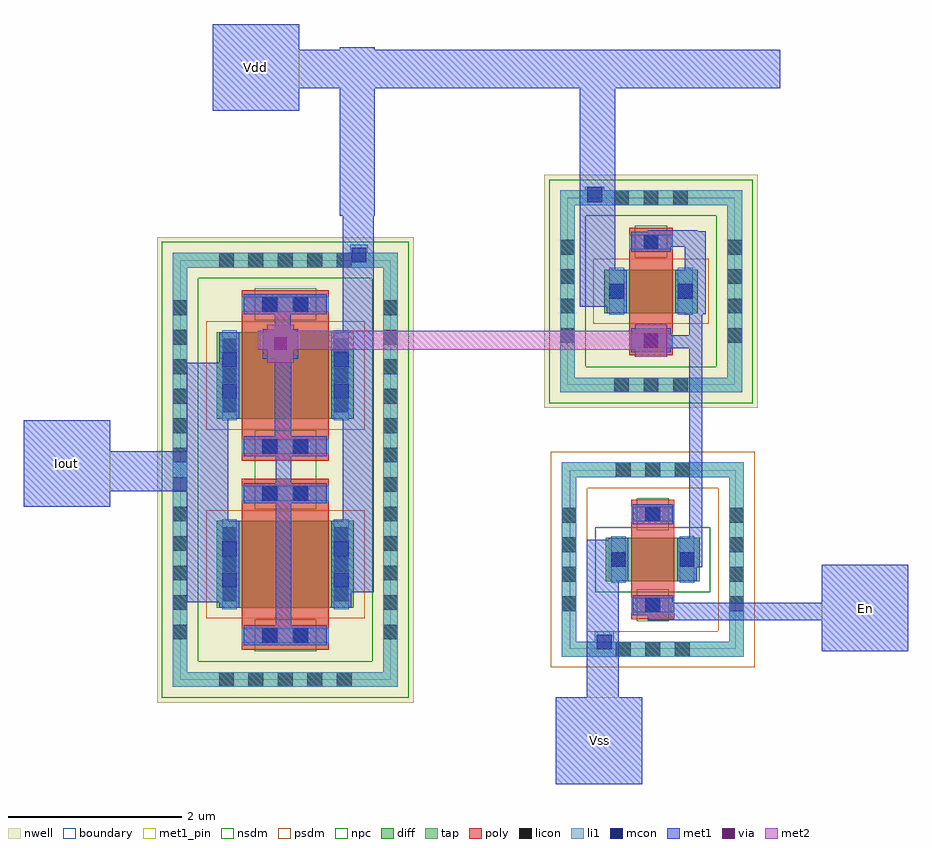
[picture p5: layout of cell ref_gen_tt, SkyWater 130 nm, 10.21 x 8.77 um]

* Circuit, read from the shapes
.subckt ref_gen_tt En Iout Vdd Vss
XM1 n1 En Vss Vss sky130_fd_pr__nfet_01v8 w=0.5 l=0.5
XM2 Vdd n1 Iout Vdd sky130_fd_pr__pfet_01v8 w=1 l=1 m=2
XM3 n1 n1 Vdd Vdd sky130_fd_pr__pfet_01v8 w=0.5 l=0.5
.ends

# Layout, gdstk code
import gdstk
lib = gdstk.Library(unit=1e-6, precision=1e-09)
def R(c, l, rs):  # rectangles x0, y0, x1, y1
    for r in rs: c.add(gdstk.rectangle(r[:2], r[2:], *l))
def A(c, l, x, y, w, h, nx, ny, dx, dy):  # array of equal rectangles
    R(c, l, [(x+i*dx, y+j*dy, x+i*dx+w, y+j*dy+h) for i in range(nx) for j in range(ny)])
nwell = (64, 20)
diff = (65, 20)
tap = (65, 44)
poly = (66, 20)
licon = (66, 44)
li1 = (67, 20)
mcon = (67, 44)
met1_pin = (68, 16)
met1 = (68, 20)
via = (68, 44)
met2 = (69, 20)
nsdm = (93, 44)
psdm = (94, 20)
npc = (95, 20)
boundary = (235, 4)

sky130_fd_pr__pfet_01v8_ = lib.new_cell('sky130_fd_pr__pfet_01v8_TM5SY6')
R(sky130_fd_pr__pfet_01v8_, nwell, [(-1.23,-1.345,1.23,1.345)])
R(sky130_fd_pr__pfet_01v8_, diff, [(-0.54,-0.25,0.54,0.25)])
R(sky130_fd_pr__pfet_01v8_, tap, [(-1.05,-1.165,1.05,-0.995), (-1.05,-0.995,-0.88,0.995), (0.88,-0.995,1.05,0.995), (-1.05,0.995,1.05,1.165)])
R(sky130_fd_pr__pfet_01v8_, poly, [(-0.25,-0.735,0.25,0.735)])
A(sky130_fd_pr__pfet_01v8_, licon, -0.425, -1.165, 0.17, 0.17, 3, 2, 0.34, 2.16)
A(sky130_fd_pr__pfet_01v8_, licon, -1.05, -0.595, 0.17, 0.17, 1, 4, 0, 0.34)
A(sky130_fd_pr__pfet_01v8_, licon, 0.88, -0.595, 0.17, 0.17, 1, 4, 0, 0.34)
R(sky130_fd_pr__pfet_01v8_, licon, [(-0.085,-0.655,0.085,-0.485), (-0.48,-0.085,-0.31,0.085), (0.31,-0.085,0.48,0.085), (-0.085,0.485,0.085,0.655)])
R(sky130_fd_pr__pfet_01v8_, li1, [(-1.05,-1.165,1.05,-0.995), (-1.05,-0.995,-0.88,0.995), (0.88,-0.995,1.05,0.995), (-0.25,-0.655,0.25,-0.485), (-0.48,-0.27,-0.31,0.27), (0.31,-0.27,0.48,0.27), (-0.25,0.485,0.25,0.655), (-1.05,0.995,1.05,1.165)])
R(sky130_fd_pr__pfet_01v8_, mcon, [(-0.085,-0.655,0.085,-0.485), (-0.48,-0.085,-0.31,0.085), (0.31,-0.085,0.48,0.085), (-0.085,0.485,0.085,0.655)])
R(sky130_fd_pr__pfet_01v8_, met1, [(-0.23,-0.685,0.23,-0.455), (-0.51,-0.25,-0.28,0.25), (0.28,-0.25,0.51,0.25), (-0.23,0.455,0.23,0.685)])
R(sky130_fd_pr__pfet_01v8_, nsdm, [(-1.175,-1.29,1.175,-0.87), (-1.175,-0.87,-0.755,0.87), (0.755,-0.87,1.175,0.87), (-1.175,0.87,1.175,1.29)])
R(sky130_fd_pr__pfet_01v8_, psdm, [(-0.665,-0.375,0.665,0.375)])
R(sky130_fd_pr__pfet_01v8_, npc, [(-0.185,-0.755,0.185,-0.385), (-0.185,0.385,0.185,0.755)])
R(sky130_fd_pr__pfet_01v8_, boundary, [(-0.965,-1.08,0.965,1.08)])

sky130_fd_pr__nfet_01v8_ = lib.new_cell('sky130_fd_pr__nfet_01v8_SMGLWN')
R(sky130_fd_pr__nfet_01v8_, diff, [(-0.54,-0.25,0.54,0.25)])
R(sky130_fd_pr__nfet_01v8_, tap, [(-1.05,-1.12,1.05,-0.95), (-1.05,-0.95,-0.88,0.95), (0.88,-0.95,1.05,0.95), (-1.05,0.95,1.05,1.12)])
R(sky130_fd_pr__nfet_01v8_, poly, [(-0.25,-0.69,0.25,0.69)])
A(sky130_fd_pr__nfet_01v8_, licon, -0.425, -1.12, 0.17, 0.17, 3, 2, 0.34, 2.07)
A(sky130_fd_pr__nfet_01v8_, licon, -1.05, -0.595, 0.17, 0.17, 1, 4, 0, 0.34)
A(sky130_fd_pr__nfet_01v8_, licon, 0.88, -0.595, 0.17, 0.17, 1, 4, 0, 0.34)
R(sky130_fd_pr__nfet_01v8_, licon, [(-0.085,-0.61,0.085,-0.44), (-0.48,-0.085,-0.31,0.085), (0.31,-0.085,0.48,0.085), (-0.085,0.44,0.085,0.61)])
R(sky130_fd_pr__nfet_01v8_, li1, [(-1.05,-1.12,1.05,-0.95), (-1.05,-0.95,-0.88,0.95), (0.88,-0.95,1.05,0.95), (-0.25,-0.61,0.25,-0.44), (-0.48,-0.27,-0.31,0.27), (0.31,-0.27,0.48,0.27), (-0.25,0.44,0.25,0.61), (-1.05,0.95,1.05,1.12)])
R(sky130_fd_pr__nfet_01v8_, mcon, [(-0.085,-0.61,0.085,-0.44), (-0.48,-0.085,-0.31,0.085), (0.31,-0.085,0.48,0.085), (-0.085,0.44,0.085,0.61)])
R(sky130_fd_pr__nfet_01v8_, met1, [(-0.23,-0.64,0.23,-0.41), (-0.51,-0.25,-0.28,0.25), (0.28,-0.25,0.51,0.25), (-0.23,0.41,0.23,0.64)])
R(sky130_fd_pr__nfet_01v8_, nsdm, [(-0.665,-0.375,0.665,0.375)])
R(sky130_fd_pr__nfet_01v8_, psdm, [(-1.175,-1.245,1.175,-0.825), (-1.175,-0.825,-0.755,0.825), (0.755,-0.825,1.175,0.825), (-1.175,0.825,1.175,1.245)])
R(sky130_fd_pr__nfet_01v8_, npc, [(-0.185,-0.71,0.185,-0.34), (-0.185,0.34,0.185,0.71)])
R(sky130_fd_pr__nfet_01v8_, boundary, [(-0.96,-1.03,0.96,1.03)])

c_sky130_fd_pr__pfet_01v8_ = lib.new_cell('sky130_fd_pr__pfet_01v8_5HMCS8')
R(c_sky130_fd_pr__pfet_01v8_, nwell, [(-1.48,-2.685,1.48,2.685)])
R(c_sky130_fd_pr__pfet_01v8_, diff, [(-0.79,-1.59,0.79,-0.59), (-0.79,0.59,0.79,1.59)])
R(c_sky130_fd_pr__pfet_01v8_, tap, [(-1.3,-2.505,1.3,-2.335), (-1.3,-2.335,-1.13,2.335), (1.13,-2.335,1.3,2.335), (-1.3,2.335,1.3,2.505)])
R(c_sky130_fd_pr__pfet_01v8_, poly, [(-0.5,-2.075,0.5,-0.105), (-0.5,0.105,0.5,2.075)])
A(c_sky130_fd_pr__pfet_01v8_, licon, -0.765, -2.505, 0.17, 0.17, 5, 2, 0.34, 4.84)
A(c_sky130_fd_pr__pfet_01v8_, licon, -1.3, -1.955, 0.17, 0.17, 1, 12, 0, 0.34)
A(c_sky130_fd_pr__pfet_01v8_, licon, 1.13, -1.955, 0.17, 0.17, 1, 12, 0, 0.34)
A(c_sky130_fd_pr__pfet_01v8_, licon, -0.73, -1.515, 0.17, 0.17, 1, 3, 0, 0.34)
A(c_sky130_fd_pr__pfet_01v8_, licon, 0.56, -1.515, 0.17, 0.17, 1, 3, 0, 0.34)
A(c_sky130_fd_pr__pfet_01v8_, licon, -0.73, 0.665, 0.17, 0.17, 1, 3, 0, 0.34)
A(c_sky130_fd_pr__pfet_01v8_, licon, 0.56, 0.665, 0.17, 0.17, 1, 3, 0, 0.34)
R(c_sky130_fd_pr__pfet_01v8_, licon, [(-0.255,-1.995,-0.085,-1.825), (0.085,-1.995,0.255,-1.825), (-0.255,-0.355,-0.085,-0.185), (0.085,-0.355,0.255,-0.185), (-0.255,0.185,-0.085,0.355), (0.085,0.185,0.255,0.355), (-0.255,1.825,-0.085,1.995), (0.085,1.825,0.255,1.995)])
R(c_sky130_fd_pr__pfet_01v8_, li1, [(-1.3,-2.505,1.3,-2.335), (-1.3,-2.335,-1.13,2.335), (1.13,-2.335,1.3,2.335), (-0.5,-1.995,0.5,-1.825), (-0.73,-1.61,-0.56,-0.57), (0.56,-1.61,0.73,-0.57), (-0.5,-0.355,0.5,-0.185), (-0.5,0.185,0.5,0.355), (-0.73,0.57,-0.56,1.61), (0.56,0.57,0.73,1.61), (-0.5,1.825,0.5,1.995), (-1.3,2.335,1.3,2.505)])
R(c_sky130_fd_pr__pfet_01v8_, mcon, [(-0.265,-1.995,-0.095,-1.825), (0.095,-1.995,0.265,-1.825), (-0.73,-1.355,-0.56,-1.185), (0.56,-1.355,0.73,-1.185), (-0.73,-0.995,-0.56,-0.825), (0.56,-0.995,0.73,-0.825), (-0.265,-0.355,-0.095,-0.185), (0.095,-0.355,0.265,-0.185), (-0.265,0.185,-0.095,0.355), (0.095,0.185,0.265,0.355), (-0.73,0.825,-0.56,0.995), (0.56,0.825,0.73,0.995), (-0.73,1.185,-0.56,1.355), (0.56,1.185,0.73,1.355), (-0.265,1.825,-0.095,1.995), (0.095,1.825,0.265,1.995)])
R(c_sky130_fd_pr__pfet_01v8_, met1, [(-0.48,-2.025,0.48,-1.795), (-0.76,-1.59,-0.53,-0.59), (0.53,-1.59,0.76,-0.59), (-0.48,-0.385,0.48,-0.155), (-0.48,0.155,0.48,0.385), (-0.76,0.59,-0.53,1.59), (0.53,0.59,0.76,1.59), (-0.48,1.795,0.48,2.025)])
R(c_sky130_fd_pr__pfet_01v8_, nsdm, [(-1.425,-2.63,1.425,-2.21), (-1.425,-2.21,-1.005,2.21), (1.005,-2.21,1.425,2.21), (-1.425,2.21,1.425,2.63)])
R(c_sky130_fd_pr__pfet_01v8_, psdm, [(-0.915,-1.715,0.915,-0.465), (-0.915,0.465,0.915,1.715)])
R(c_sky130_fd_pr__pfet_01v8_, npc, [(-0.355,-2.095,0.355,-1.725), (-0.355,-0.455,0.355,0.455), (-0.355,1.725,0.355,2.095)])
R(c_sky130_fd_pr__pfet_01v8_, boundary, [(-1.215,-2.42,1.215,2.42)])

ref_gen_tt = lib.new_cell('ref_gen_tt')
R(ref_gen_tt, li1, [(5.81,-3.2,6.03,-2.96), (2.99,1.27,3.19,1.5), (5.7,1.99,5.92,2.17)])
R(ref_gen_tt, mcon, [(5.835,-3.165,6.005,-2.995), (3.005,1.3,3.175,1.47), (5.725,1.995,5.895,2.165)])
R(ref_gen_tt, met1_pin, [(5.36,-4.72,6.36,-3.72), (8.43,-3.19,9.43,-2.19), (-0.78,-1.52,0.22,-0.52), (1.4,3.05,2.4,4.05)])
R(ref_gen_tt, met1, [(5.36,-4.72,6.36,-3.72), (5.72,-3.72,6.09,-1.9), (8.43,-3.19,9.43,-2.83), (2.13,-3.06,2.31,-0.88), (6.42,-2.83,9.43,-2.63), (8.43,-2.63,9.43,-2.19), (1.1,-2.62,1.58,-1.34), (2.9,-2.51,3.26,1.84), (6.9,-2.22,7.05,0.31), (-0.78,-1.52,0.22,-1.34), (-0.78,-1.34,1.58,-0.88), (-0.78,-0.88,0.22,-0.52), (1.1,-0.88,1.58,0.14), (2.12,-0.88,2.31,0.19), (1.98,0.19,2.39,0.53), (6.23,0.26,6.69,0.31), (6.23,0.31,7.05,0.46), (6.23,0.46,6.69,0.54), (6.9,0.46,7.05,0.7), (2.12,0.53,2.3,0.8), (6.85,0.7,7.09,1.48), (5.64,0.79,6.05,3.31), (6.42,1.48,7.09,1.66), (6.42,1.66,7,1.67), (2.87,1.84,3.27,3.31), (1.4,3.05,2.4,3.31), (1.4,3.31,7.95,3.75), (1.4,3.75,2.4,4.05), (2.87,3.75,3.27,3.78)])
R(ref_gen_tt, via, [(2.11,0.285,2.26,0.435), (6.385,0.325,6.535,0.475)])
R(ref_gen_tt, met2, [(2.03,0.14,2.34,0.29), (6.28,0.21,6.64,0.29), (1.92,0.29,6.64,0.51), (2.03,0.51,2.34,0.58), (6.28,0.51,6.64,0.59)])
ref_gen_tt.add(gdstk.Reference(sky130_fd_pr__pfet_01v8_, (6.46,0.965)))
ref_gen_tt.add(gdstk.Reference(sky130_fd_pr__nfet_01v8_, (6.48,-2.13)))
ref_gen_tt.add(gdstk.Reference(c_sky130_fd_pr__pfet_01v8_, (2.24,-1.095)))
ref_gen_tt.add(gdstk.Label('Vdd', (1.9,3.55), layer=68, texttype=5))
ref_gen_tt.add(gdstk.Label('En', (8.93,-2.69), layer=68, texttype=5))
ref_gen_tt.add(gdstk.Label('Iout', (-0.28,-1.02), layer=68, texttype=5))
ref_gen_tt.add(gdstk.Label('Vss', (5.86,-4.22), layer=68, texttype=5))

lib.write_gds('ref_gen_tt.gds')
